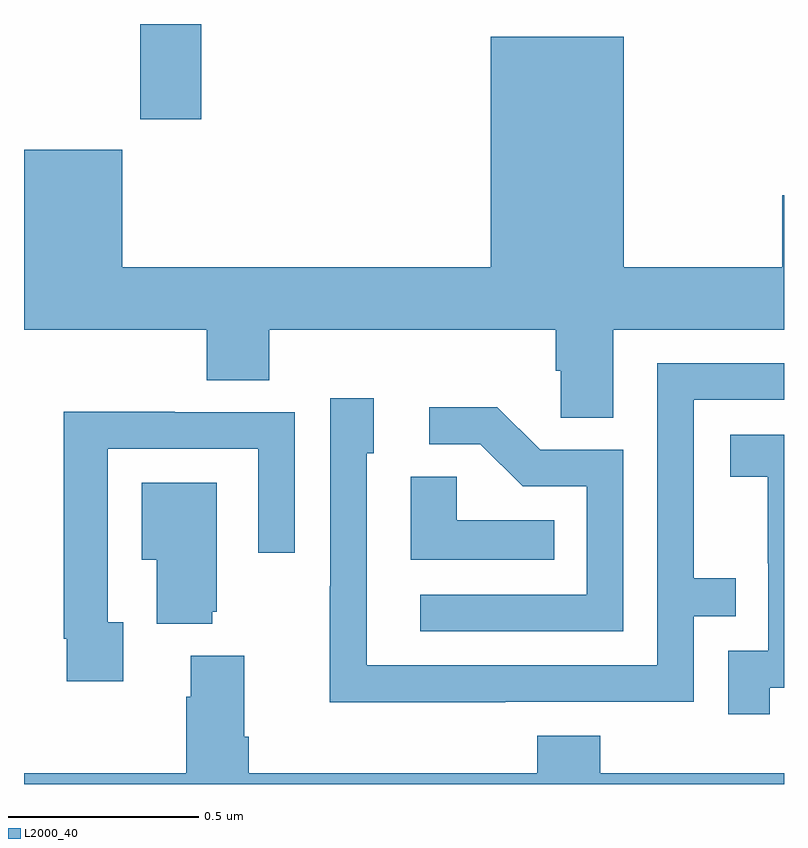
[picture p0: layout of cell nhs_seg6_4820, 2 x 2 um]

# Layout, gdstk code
import gdstk
lib = gdstk.Library(unit=1e-6, precision=1e-09)
def R(c, l, rs):  # rectangles x0, y0, x1, y1
    for r in rs: c.add(gdstk.rectangle(r[:2], r[2:], *l))
def P(c, l, *ps):  # polygons
    for p in ps: c.add(gdstk.Polygon(p, *l))
L2000_40 = (2000, 40)

nhs_seg6_4820 = lib.new_cell('nhs_seg6_4820')
R(nhs_seg6_4820, L2000_40, [(175.306,921.249,175.466,921.5)])
P(nhs_seg6_4820, L2000_40, [(176.551,920.696),(177,920.696),(177,921.049),(176.996,921.049),(176.996,920.86),(176.578,920.86),(176.578,921.466),(176.228,921.466),(176.228,920.86),(175.258,920.86),(175.258,921.169),(175,921.169),(175,920.696),(175.481,920.696),(175.481,920.563),(175.646,920.563),(175.646,920.696),(176.399,920.696),(176.399,920.587),(176.412,920.587),(176.412,920.464),(176.551,920.464)],
  [(176.267,919.716),(176.763,919.716),(176.763,919.941),(176.873,919.941),(176.873,920.042),(176.763,920.042),(176.763,920.511),(177,920.511),(177,920.607),(176.667,920.607),(176.667,919.812),(175.902,919.812),(175.902,920.37),(175.921,920.37),(175.921,920.515),(175.806,920.515),(175.806,920.021),(175.804,920.021),(175.804,919.715),(176.267,919.715)],
  [(176.577,920.379),(176.358,920.379),(176.245,920.492),(176.067,920.492),(176.067,920.394),(176.201,920.394),(176.312,920.283),(176.481,920.283),(176.481,919.998),(176.043,919.998),(176.043,919.902),(176.577,919.902)],
  [(175.261,919.926),(175.221,919.926),(175.221,920.382),(175.617,920.382),(175.617,920.109),(175.713,920.109),(175.713,920.478),(175.397,920.478),(175.397,920.48),(175.105,920.48),(175.105,919.882),(175.113,919.882),(175.113,919.77),(175.261,919.77)],
  [(176.962,919.753),(177,919.753),(177,920.419),(176.859,920.419),(176.859,920.309),(176.957,920.309),(176.957,920.081),(176.958,920.081),(176.958,919.851),(176.853,919.851),(176.853,919.683),(176.962,919.683)],
  [(176.396,920.194),(176.139,920.194),(176.139,920.309),(176.018,920.309),(176.018,920.09),(176.396,920.09)],
  [(175.496,919.953),(175.507,919.953),(175.507,920.293),(175.31,920.293),(175.31,920.09),(175.349,920.09),(175.349,919.922),(175.496,919.922)],
  [(176.516,919.627),(176.351,919.627),(176.351,919.528),(175.592,919.528),(175.592,919.624),(175.579,919.624),(175.579,919.837),(175.439,919.837),(175.439,919.73),(175.427,919.73),(175.427,919.528),(175,919.528),(175,919.5),(177,919.5),(177,919.528),(176.516,919.528)])

lib.write_gds('nhs_seg6_4820.gds')
